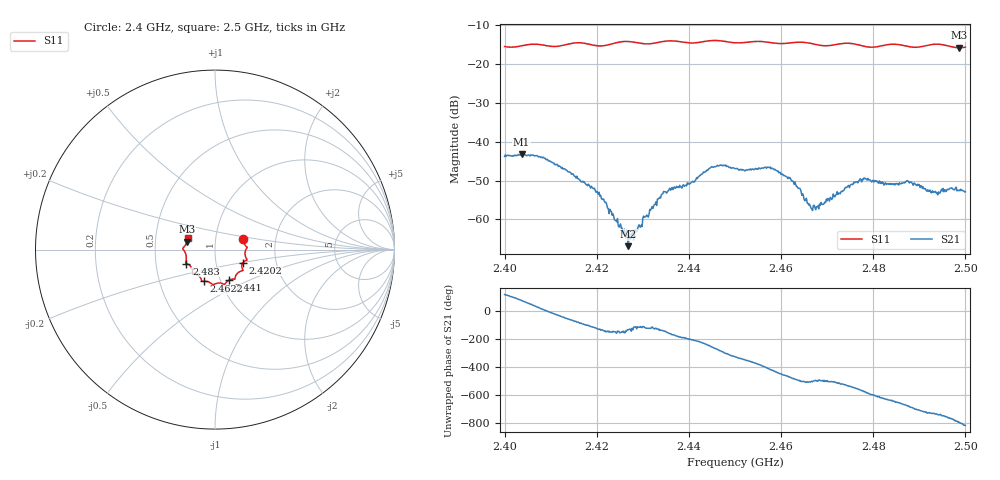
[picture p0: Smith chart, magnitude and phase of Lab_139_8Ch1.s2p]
# Hz S RI R 50
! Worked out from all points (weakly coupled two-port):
!   601 points, 2.4 GHz to 2.5 GHz, reference 50 ohm
!   highest |S21| = -43.24 dB at 2.4037 GHz (marker M1); lowest = -66.9 dB at 2.4268 GHz (marker M2)
!   lowest |S11| = -15.8 dB at 2.4987 GHz (marker M3), VSWR 1.39, Z = 36.4 + j3.33 ohm
!   |S11| at or under -10 dB: start of sweep to end of sweep
!   S12 and S22 are empty: the file has one direction only
!   S11 on the Smith chart (normalised r, x): 2.4 GHz: 1.36, +0.17; 2.4202 GHz: 1.35, -0.20; 2.441 GHz: 1.09, -0.39; 2.4622 GHz: 0.83, -0.30; 2.483 GHz: 0.72, -0.12; 2.5 GHz: 0.73, +0.09
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2.4e9  0.1565 0.0605  -0.00325 0.00558  0 0  0 0
2.403667e9  0.1702 0.0211  0.00143 0.00673  0 0  0 0
2.408833e9  0.1733 0.00288  0.00606 0.00078  0 0  0 0
2.416667e9  0.1779 -0.0582  0.000283 -0.00302  0 0  0 0
2.420167e9  0.1556 -0.0722  -0.00129 -0.00185  0 0  0 0
2.426833e9  0.1563 -0.1166  -0.000294 -0.000345  0 0  0 0
2.4285e9  0.1476 -0.1185  -0.000236 -0.000653  0 0  0 0
2.433333e9  0.1128 -0.1524  -0.00116 -0.00141  0 0  0 0
2.4345e9  0.1118 -0.1603  -0.00175 -0.00147  0 0  0 0
2.441e9  0.0765 -0.1704  -0.00272 0.00131  0 0  0 0
2.445e9  0.0544 -0.1932  -0.00133 0.0046  0 0  0 0
2.45e9  0.0262 -0.1861  0.00362 0.00272  0 0  0 0
2.4575e9  -0.0213 -0.1883  0.00285 -0.00366  0 0  0 0
2.462167e9  -0.0635 -0.1764  -0.00127 -0.00295  0 0  0 0
2.466667e9  -0.0763 -0.1668  -0.00102 -0.00091  0 0  0 0
2.477667e9  -0.1256 -0.1165  -0.003 0.00138  0 0  0 0
2.483e9  -0.1592 -0.078  -0.0001 0.00286  0 0  0 0
2.483333e9  -0.1607 -0.0776  0.000126 0.00284  0 0  0 0
2.487667e9  -0.1595 -0.0522  0.00218 0.00219  0 0  0 0
2.494e9  -0.1798 0.007  0.00198 -0.000582  0 0  0 0
2.498667e9  -0.1553 0.0446  0.000647 -0.00229  0 0  0 0
2.5e9  -0.1527 0.0633  -0.00016 -0.00227  0 0  0 0
